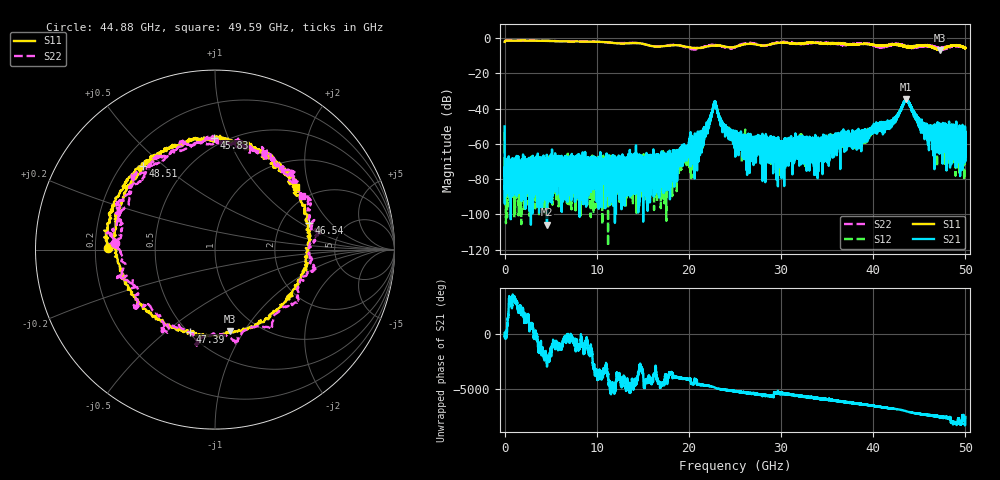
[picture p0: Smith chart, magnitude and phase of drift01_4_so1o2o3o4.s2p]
!Created with skrf (http://scikit-rf.org).
# Hz S RI R 50.0
!freq ReS11 ImS11 ReS21 ImS21 ReS12 ImS12 ReS22 ImS22
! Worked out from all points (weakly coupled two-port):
!   10001 points, 300 kHz to 50 GHz, reference 50 ohm
!   highest |S21| = -34.71 dB at 43.53 GHz (marker M1); lowest = -106.0 dB at 4.6 GHz (marker M2)
!   lowest |S11| = -6.7 dB at 47.2 GHz (marker M3), VSWR 2.71, Z = 37.6 - j43.2 ohm
!   |S11| at or under -10 dB: nowhere
!   |S22| runs from -6.7 to -1.4 dB; largest |S21 - S12| = 0.0047
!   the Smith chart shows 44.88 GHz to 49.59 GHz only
!   S11 on the Smith chart (normalised r, x): 44.88 GHz: 0.25, +0.01; 45.83 GHz: 0.44, +0.89; 46.54 GHz: 2.82, +1.20; 47.39 GHz: 0.51, -0.61; 48.51 GHz: 0.28, +0.43; 49.59 GHz: 1.60, +1.66
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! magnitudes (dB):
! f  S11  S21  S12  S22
! 300 kHz  -2.1  -50.1  -53.3  -2.1
! 265.3 MHz  -1.4  -73.5  -81.2  -1.4
! 4.6 GHz  -1.6  -106.0  -78.7  -1.6
! 8.335 GHz  -1.9  -84.6  -85.6  -1.8
! 16.67 GHz  -4.9  -72.7  -72.8  -4.8
! 20.8 GHz  -5.7  -59.3  -65.6  -6.2
! 21.84 GHz  -5.0  -54.1  -51.7  -4.7
! 22.8 GHz  -4.3  -36.5  -36.0  -4.0
! 23.69 GHz  -4.6  -49.7  -50.1  -5.0
! 25 GHz  -5.0  -52.6  -56.1  -5.1
! 29.66 GHz  -2.7  -84.1  -64.5  -2.5
! 33.34 GHz  -2.6  -67.1  -63.6  -2.6
! 41.67 GHz  -3.9  -47.6  -48.6  -4.5
! 43.53 GHz  -5.0  -34.7  -35.0  -4.7
! 44.88 GHz  -4.5  -45.7  -47.6  -5.0
! 45.83 GHz  -4.1  -53.9  -52.5  -4.8
! 46.54 GHz  -5.3  -54.6  -53.1  -4.9
! 47.2 GHz  -6.7  -52.4  -51.8  -6.0
! 47.39 GHz  -6.4  -49.3  -50.5  -5.7
! 48.51 GHz  -4.2  -51.3  -59.0  -4.8
! 49.59 GHz  -4.9  -55.1  -55.0  -4.9
! 50 GHz  -5.6  -53.5  -55.6  -5.5
